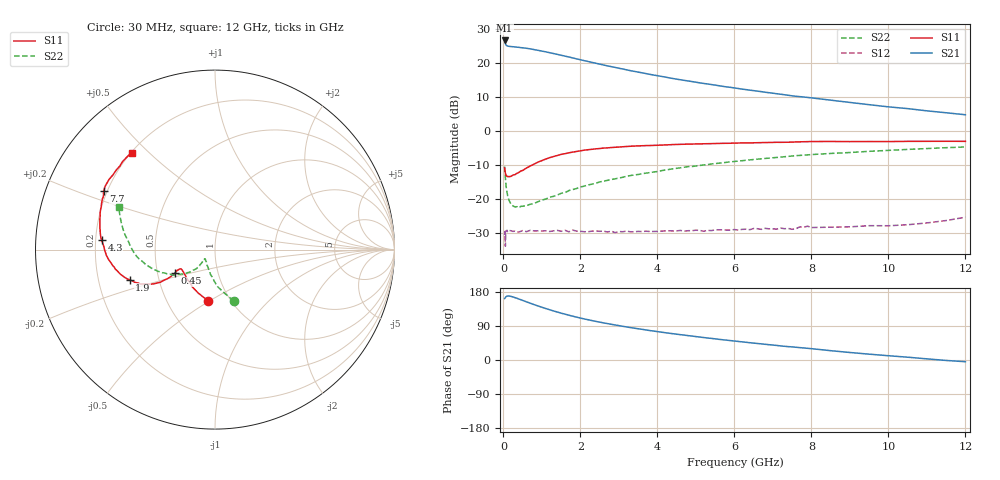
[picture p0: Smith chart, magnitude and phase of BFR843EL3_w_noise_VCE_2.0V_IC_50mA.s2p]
! Infineon Technologies  Discrete & RF Semiconductors
! BFR843EL3
! VCE =  2.0 V,  IC =  50 mA
! Common Emitter S-Parameters:  Aug 2013
# GHz  S  MA  R  50
!  f  S11  S21  S12  S22
! GHz  MAG  ANG  MAG  ANG  MAG  ANG  MAG  ANG
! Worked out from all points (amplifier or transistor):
!   103 points, 30 MHz to 12 GHz, reference 50 ohm
!   highest |S21| = 26.7 dB at 30 MHz (marker M1)
!   |S21| within 3 dB of that: start of sweep to 942 MHz
!   unconditionally stable (mu >= 1): 42.71 MHz to end of sweep
!   at 400 MHz: K = 1.11, MAG = 25.1 dB, |S12| = -29.6 dB
!   at 3.7 GHz: K = 1.26, MAG = 20.1 dB, |S12| = -29.4 dB
!   at 12 GHz: K = 1.90, MAG = 9.6 dB, |S12| = -25.3 dB
!   lowest NFmin = 1.75 dB at 450 MHz
!   S11 on the Smith chart (normalised r, x): 30 MHz: 0.79, -0.49; 450 MHz: 0.61, -0.17; 1.9 GHz: 0.34, -0.15; 4.3 GHz: 0.22, +0.04; 7.7 GHz: 0.19, +0.24; 12 GHz: 0.20, +0.44
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0.03  0.2884 -97.5  21.59 162.2  0.03 27.8  0.304 -69.9
0.04  0.26 -110.8  20.18 163.6  0.0337 22.5  0.2454 -78.2
0.06  0.2302 -127.1  18.74 166.4  0.0324 25.9  0.1774 -91.1
0.09  0.2181 -140.0  18.09 168.3  0.035 11.8  0.1283 -103.2
0.13  0.2158 -147.0  17.76 168.8  0.0341 8.4  0.102 -113.8
0.25  0.2274 -151.3  17.44 166.3  0.0338 3.3  0.0799 -130.0
0.45  0.2605 -149.6  16.94 159.1  0.0339 3.0  0.0789 -137.8
0.8  0.3303 -149.0  15.83 146.0  0.0343 4.3  0.0872 -137.2
1.1  0.3907 -150.8  14.68 135.8  0.0345 2.3  0.101 -135.2
1.5  0.4577 -155.3  13.07 123.6  0.0339 3.4  0.1228 -134.3
1.9  0.505 -160.6  11.58 113.1  0.0341 6.7  0.1442 -133.9
2.1  0.5278 -163.1  10.89 108.3  0.0334 5.6  0.1563 -135.3
2.6  0.5663 -169.0  9.416 97.9  0.0341 8.9  0.1847 -137.8
3  0.5867 -173.2  8.427 90.7  0.0336 7.9  0.2056 -140.4
3.5  0.6093 -178.1  7.398 82.4  0.0338 9.7  0.2315 -144.0
4.1  0.6257 176.8  6.406 73.5  0.0341 12.1  0.2633 -147.4
4.3  0.6332 175.3  6.104 70.7  0.0345 14.2  0.2748 -149.1
6.1  0.672 162.1  4.25 49.0  0.0353 20.1  0.3652 -163.2
7.7  0.6997 152.3  3.228 32.7  0.0394 25.3  0.4419 -175.9
8.5  0.7081 146.6  2.865 24.6  0.039 26.5  0.4722 177.7
10.5  0.7109 136.5  2.152 7.4  0.0423 38.6  0.5414 164.3
12  0.7111 130.6  1.749 -4.5  0.0546 42.7  0.5876 156.0
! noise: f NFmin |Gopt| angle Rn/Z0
0.45  1.75  0.3  181  0.13
0.9  1.79  0.32  185  0.13
1.5  1.84  0.34  187  0.12
1.9  1.87  0.35  -172  0.12
2.4  1.91  0.38  192  0.12
3.5  1.98  0.41  198  0.13
5.5  2.11  0.47  207  0.12
8  2.27  0.57  219  0.18
10  2.39  0.6  234  0.37
